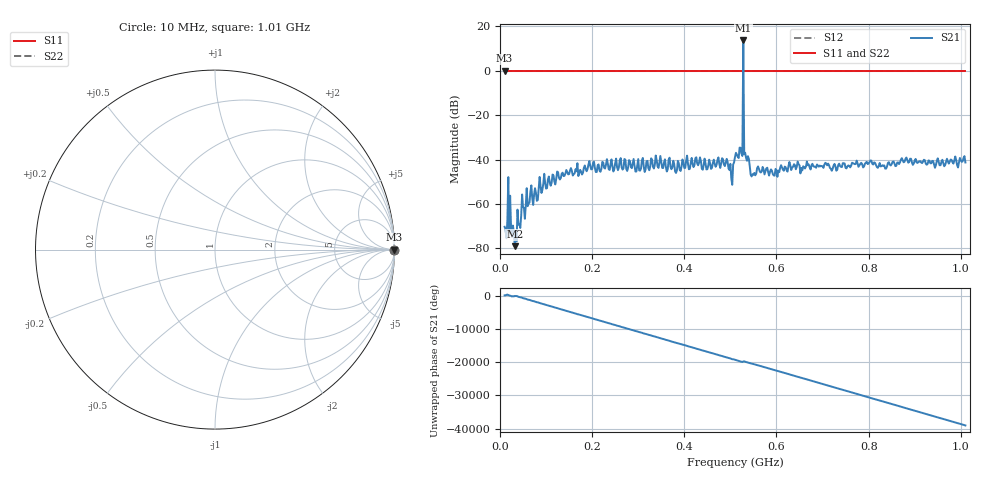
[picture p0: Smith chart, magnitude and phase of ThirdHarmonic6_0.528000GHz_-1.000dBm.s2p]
! 8/15/2025 4:23:39 PM
! C:\ANRITSUVNA\TEMP\TEMP.S2P
! CHANNEL.1
! TR.MEASUREMENT
! RAW.DATA
! RF.CORRECTION.OFF
! AVERAGING.OFF
! IF.BANDWIDTH: 5KHZ
! SWEEPTYPE:  FREQ.SWEEP(Linear)
! Reference Plane Port Info
! PORT:  PORT1  PORT2
! DISTANCE:  0  m  0  m
! TIME:  0  s  0  s
! PHASE.OFFSET:  0  deg.  0  deg.
! LOSS:  0  dB  0  dB
! REF.LOSS:  0  dB  0  dB
! REF.FREQ:  0  Hz  0  Hz
! Power Info
! POWER:  -20  dBm  -20  dBm
! EFF.POWER:  -20  dBm  -20  dBm
! SOURCE.ATTEN:  0  dB  0  dB
! TEST.ATTEN:  0  dB  0  dB
# GHZ S RI R 50.0
! FREQ.GHZ  S11RE  S11IM  S21RE  S21IM  S12RE  S12IM  S22RE  S22IM
!; PortSelection: Port_12
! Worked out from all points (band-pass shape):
!   501 points, 10 MHz to 1.01 GHz, reference 50 ohm
!   highest |S21| = 13.68 dB at 528 MHz (marker M1); lowest = -79.0 dB at 32 MHz (marker M2)
!   |S21| within 3 dB of the highest: 527.8848 MHz to 528.117 MHz (232.2 kHz wide, 0.044 % of centre)
!   lowest |S11| = 0.0 dB at 10 MHz (marker M3)
!   |S11| at or under -10 dB: nowhere
!   |S22| runs from 0.0 to 0.0 dB; largest |S21 - S12| = 3.8
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0.01  1 0  7.2e-05 0.000297  1 0  1 0
0.02  1 0  9.16e-05 0.000203  1 0  1 0
0.028  1 0  -0.000322 -4.81e-05  1 0  1 0
0.032  1 0  -2.38e-05 -0.000109  1 0  1 0
0.048  1 0  0.000603 0.00152  1 0  1 0
0.066  1 0  0.000354 0.00184  1 0  1 0
0.126  1 0  -0.00128 0.00505  1 0  1 0
0.178  1 0  -0.00448 0.00114  1 0  1 0
0.344  1 0  0.00457 -0.0046  1 0  1 0
0.382  1 0  -0.00345 -0.00364  1 0  1 0
0.488  1 0  0.00171 -0.00694  1 0  1 0
0.5  1 0  -0.00802 0.000137  1 0  1 0
0.51  1 0  -0.00926 0.00673  1 0  1 0
0.522  1 0  0.0174 -0.00626  1 0  1 0
0.524  1 0  -0.00553 -0.0125  1 0  1 0
0.528  1 0  4.801 -0.5357  1 0  1 0
0.532  1 0  -3.27e-05 -0.0143  1 0  1 0
0.534  1 0  -0.011 -0.000336  1 0  1 0
0.55  1 0  0.00166 -0.00422  1 0  1 0
0.678  1 0  -0.0069 -0.00409  1 0  1 0
0.844  1 0  0.00828 0.00281  1 0  1 0
1.01  1 0  -0.00832 0.00217  1 0  1 0
